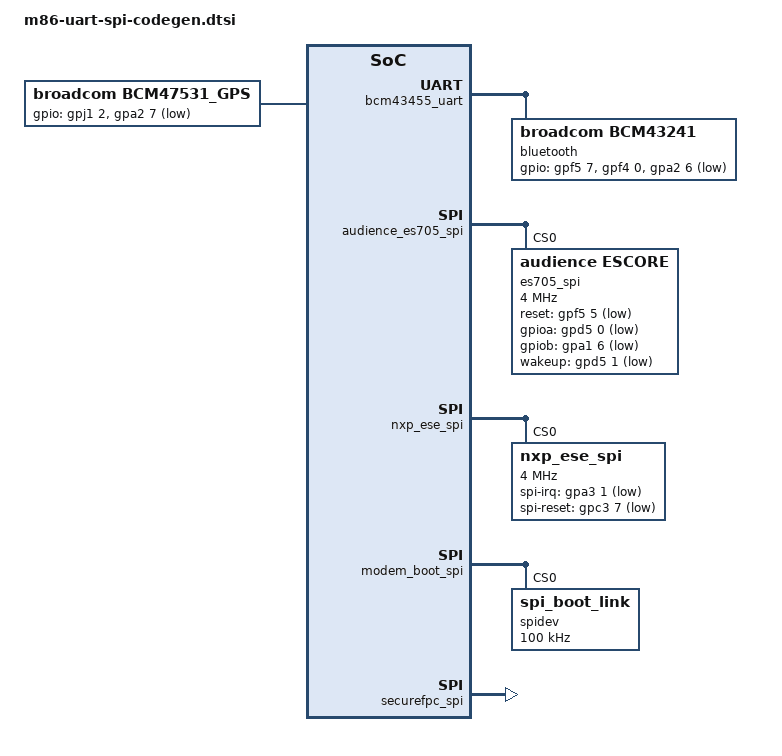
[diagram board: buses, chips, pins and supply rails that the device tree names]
#define bcm47531_uart   serial_1
#define bcm43455_uart   serial_4

#define nxp_ese_spi        spi_0
#define modem_boot_spi     spi_1
#define audience_es705_spi spi_3
#define fingerprint_spi    spi_4
#define securefpc_spi spi_4
#define securefpc_spi_bus spi4_bus
#define securefpc_spi_cs_func spi4_cs_func
#
#
#define spi4_cs_func_pinctrl    pinctrl_7

&bcm47531_uart {
	/* Enable UART channel for gps */
	status = "okay";
	gps {
		compatible = "broadcom,bcm47531_gps";
		status = "okay";
		gpios = <&gpj1 2 0 /* GPS_EN */
			 &gpa2 7 0xF>; /* GPS_HOST_WAKE */
		pinctrl-names = "default";
		pinctrl-0=<&gps_hostwake &gps_en>;
	};
};

&bcm43455_uart {
	/* Enable AUD UART channel for bluetooth */
	status = "okay";
	bluetooth {
		compatible = "broadcom,bcm43241";

		gpios = <&gpf5 7 0 /* BT_EN */
			 &gpf4 0 0 /* BT_DEV_WAKE */
			 &gpa2 6 0xF>; /* BT_HOST_WAKE */

		pinctrl-names = "default";
		pinctrl-0=<&bt_hostwake &bt_devwake &bt_en>;
	};
};

&audience_es705_spi {
	status = "okay";

	es705_spi@0 {
		compatible = "audience,escore";
		spi-max-frequency = <4000000>;
		reg = <0x0>;

		adnc,reset-gpio = <&gpf5 5 1>;
		adnc,gpioa-gpio = <&gpd5 0 0xf>;
		adnc,gpiob-gpio = <&gpa1 6 0xf>;
		adnc,wakeup-gpio = <&gpd5 1 1>;
		adnc,spi-fw-download-speed = <4000000>;
		adnc,spi-operational-speed = <4000000>;
		pinctrl-names = "default";
		pinctrl-0 = <&es705_reset &es705_irq &es705_wakeup &es705_api>;

		controller-data {
			cs-gpio = <&gpg4 1 0x2>;
			samsung,spi-feedback-delay = <0>;
			samsung,spi-chip-select-mode = <1>;
		};
	};
}; 

&nxp_ese_spi {
	status = "okay";

	nxp_ese_spi@0 {
		compatible = "nxp_ese_spi";
		reg = <0x0>;
		spi-max-frequency = <4000000>;
		nxp,spi-irq-gpio = <&gpa3 1 0xF>;
		nxp,spi-reset-gpio = <&gpc3 7 0x1>;

		pinctrl-names ="default";
		pinctrl-0 = <&nfc_spi_irq>;

		controller-data {
			cs-gpio = <&gpd8 1 0x2>;
			samsung,spi-feedback-delay = <0>;
			samsung,spi-chip-select-mode = <1>;
		};
	};
};

&modem_boot_spi {
	#address-cells = <1>;
	#size-cells = <0>;
	status = "okay";

	spidev@0 {
		compatible = "spi_boot_link";
		#address-cells = <1>;
		#size-cells = <1>;
		reg = <0x0>;
		spi-max-frequency = <100000>;
		pinctrl-names = "default";
		pinctrl-0 = <&spi1_cs_func>;

		controller-data {
			samsung,spi-feedback-delay = <0>;
			samsung,spi-chip-select-mode = <1>;
		};
	};
};

 &spi4_cs_func_pinctrl {
      spi4_cs_func: spi4-cs-func {
          samsung,pins = "gpv7-1";
          samsung,pin-function = <2>;
          samsung,pin-pud = <3>;
          samsung,pin-drv = <0>;
      };
  };

&securefpc_spi {
	secure-mode;
	pinctrl-0 = <&securefpc_spi_bus	&securefpc_spi_cs_func>;
	status = "ok";

	securefpc_spidev@0{
		compatible = "spi-fpc-dummy";
		reg = <0>;
		spi-max-frequency = <16000000>;
		//fpc,gpio_reset    = <&gpv7 4 0x1>;

		controller-data {
			samsung,spi-feedback-delay = <0>;
			samsung,spi-chip-select-mode = <0>;
		};
	};
};
